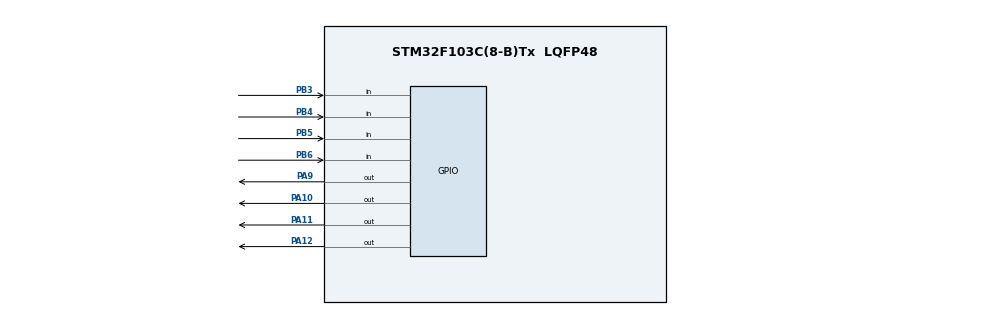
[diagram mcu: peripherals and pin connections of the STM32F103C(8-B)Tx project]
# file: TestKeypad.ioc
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Mcu.Family=STM32F1
Mcu.Name=STM32F103C(8-B)Tx
Mcu.Package=LQFP48
NVIC.PriorityGroup=NVIC_PRIORITYGROUP_4
PA10.Signal=GPIO_Output
PA11.Signal=GPIO_Output
PA12.Signal=GPIO_Output
PA9.Signal=GPIO_Output
PB3.GPIO_PuPd=GPIO_PULLUP
PB3.Signal=GPIO_Input
PB4.GPIO_PuPd=GPIO_PULLUP
PB4.Signal=GPIO_Input
PB5.GPIO_PuPd=GPIO_PULLUP
PB5.Signal=GPIO_Input
PB6.GPIO_PuPd=GPIO_PULLUP
PB6.Signal=GPIO_Input
PD0-OSC_IN.Mode=HSE-External-Oscillator
PD0-OSC_IN.Signal=RCC_OSC_IN
PD1-OSC_OUT.Mode=HSE-External-Oscillator
PD1-OSC_OUT.Signal=RCC_OSC_OUT
ProjectManager.HeapSize=0x200
ProjectManager.StackSize=0x400
ProjectManager.TargetToolchain=STM32CubeIDE
RCC.APB1Freq_Value=8000000
RCC.APB2Freq_Value=8000000
board=custom

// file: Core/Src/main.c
/* USER CODE BEGIN Header */
/**
  ******************************************************************************
  * @file           : main.c
  * @brief          : Main program body
  ******************************************************************************
  * @attention
  *
  * Copyright (c) 2023 STMicroelectronics.
  * All rights reserved.
  *
  * This software is licensed under terms that can be found in the LICENSE file
  * in the root directory of this software component.
  * If no LICENSE file comes with this software, it is provided AS-IS.
  *
  ******************************************************************************
  */
/* USER CODE END Header */
#include "main.h"
#include "gpio.h"

/* USER CODE BEGIN Includes */

#include "RCC_interface.h"
#include "GPIO_interface.h"
#include "LCD_interface.h"
#include "KEYPAD_interface.h"

/* USER CODE END Includes */

/* USER CODE BEGIN PV */

uint8_t keypadVal = NOTPRESSED;
extern RCC_Config_t RCC_obj;
extern chr_lcd_4bit_t lcd_1;
extern chr_lcd_4bit_t keypad_1;

/* USER CODE END PV */

void SystemClock_Config(void);

int main(void)
{

  /* MCU Configuration--------------------------------------------------------*/

  /* Reset of all peripherals, Initializes the Flash interface and the Systick. */
  HAL_Init();

  /* Configure the system clock */
  SystemClock_Config();

  /* Initialize all configured peripherals */
  MX_GPIO_Init();
  /* USER CODE BEGIN 2 */

	MRCC_voidPeripheralClockEnable(RCC_APB2_BUS , RCC_GPIOA_CLOCK);
	MRCC_voidPeripheralClockEnable(RCC_APB2_BUS , RCC_GPIOB_CLOCK);
	lcd_4bit_intialize(&lcd_1);

  /* USER CODE END 2 */

  /* Infinite loop */
  while (1)
  {

    /* USER CODE BEGIN 3 */

	keypadVal = NOTPRESSED;
	keypadVal = read_keypad(&keypad_1);
	if(keypadVal != NOTPRESSED)
	{
		lcd_4bit_send_char_data(&lcd_1, keypadVal);
	}
  }
  /* USER CODE END 3 */
}

void SystemClock_Config(void)
{
  RCC_OscInitTypeDef RCC_OscInitStruct = {0};
  RCC_ClkInitTypeDef RCC_ClkInitStruct = {0};

  /** Initializes the RCC Oscillators according to the specified parameters
  * in the RCC_OscInitTypeDef structure.
  */
  RCC_OscInitStruct.OscillatorType = RCC_OSCILLATORTYPE_HSI;
  RCC_OscInitStruct.HSIState = RCC_HSI_ON;
  RCC_OscInitStruct.HSICalibrationValue = RCC_HSICALIBRATION_DEFAULT;
  RCC_OscInitStruct.PLL.PLLState = RCC_PLL_NONE;
  if (HAL_RCC_OscConfig(&RCC_OscInitStruct) != HAL_OK)
  {
    Error_Handler();
  }

  /** Initializes the CPU, AHB and APB buses clocks
  */
  RCC_ClkInitStruct.ClockType = RCC_CLOCKTYPE_HCLK|RCC_CLOCKTYPE_SYSCLK
                              |RCC_CLOCKTYPE_PCLK1|RCC_CLOCKTYPE_PCLK2;
  RCC_ClkInitStruct.SYSCLKSource = RCC_SYSCLKSOURCE_HSI;
  RCC_ClkInitStruct.AHBCLKDivider = RCC_SYSCLK_DIV1;
  RCC_ClkInitStruct.APB1CLKDivider = RCC_HCLK_DIV1;
  RCC_ClkInitStruct.APB2CLKDivider = RCC_HCLK_DIV1;

  if (HAL_RCC_ClockConfig(&RCC_ClkInitStruct, FLASH_LATENCY_0) != HAL_OK)
  {
    Error_Handler();
  }
}

void Error_Handler(void)
{
  __disable_irq();
  while (1)
  {
  }
}
